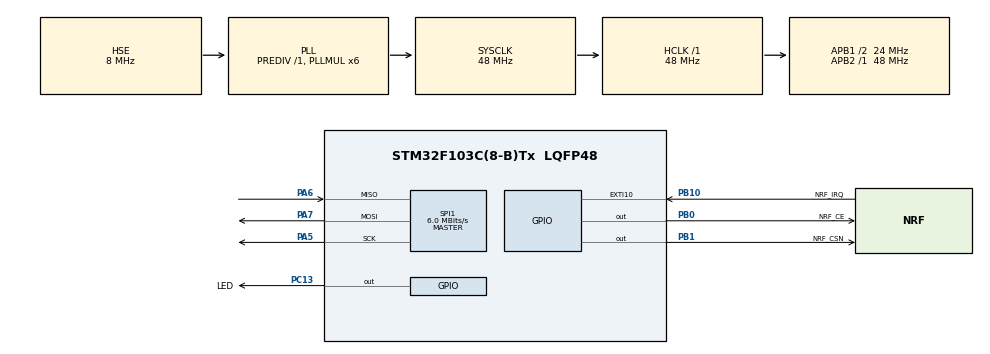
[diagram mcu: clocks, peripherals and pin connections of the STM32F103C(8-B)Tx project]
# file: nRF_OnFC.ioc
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Mcu.Family=STM32F1
Mcu.Name=STM32F103C(8-B)Tx
Mcu.Package=LQFP48
NVIC.EXTI15_10_IRQn=true\:0\:0\:false\:false\:true\:true\:true
NVIC.PriorityGroup=NVIC_PRIORITYGROUP_4
PA13.Mode=Serial_Wire
PA13.Signal=SYS_JTMS-SWDIO
PA14.Mode=Serial_Wire
PA14.Signal=SYS_JTCK-SWCLK
PA5.Mode=Full_Duplex_Master
PA5.Signal=SPI1_SCK
PA6.Mode=Full_Duplex_Master
PA6.Signal=SPI1_MISO
PA7.Mode=Full_Duplex_Master
PA7.Signal=SPI1_MOSI
PB0.GPIO_Label=NRF_CE
PB0.Signal=GPIO_Output
PB1.GPIO_Label=NRF_CSN
PB1.Signal=GPIO_Output
PB10.GPIO_Label=NRF_IRQ
PB10.GPIO_ModeDefaultEXTI=GPIO_MODE_IT_FALLING
PB10.GPIO_PuPd=GPIO_PULLUP
PB10.Signal=GPXTI10
PC13-TAMPER-RTC.GPIO_Label=LED
PC13-TAMPER-RTC.Signal=GPIO_Output
PD0-OSC_IN.Mode=HSE-External-Oscillator
PD0-OSC_IN.Signal=RCC_OSC_IN
PD1-OSC_OUT.Mode=HSE-External-Oscillator
PD1-OSC_OUT.Signal=RCC_OSC_OUT
ProjectManager.HeapSize=0x200
ProjectManager.StackSize=0x400
ProjectManager.TargetToolchain=STM32CubeIDE
RCC.AHBFreq_Value=48000000
RCC.APB1CLKDivider=RCC_HCLK_DIV2
RCC.APB1Freq_Value=24000000
RCC.APB1TimFreq_Value=48000000
RCC.APB2Freq_Value=48000000
RCC.APB2TimFreq_Value=48000000
RCC.HCLKFreq_Value=48000000
RCC.PLLMUL=RCC_PLL_MUL6
RCC.PLLSourceVirtual=RCC_PLLSOURCE_HSE
RCC.SYSCLKFreq_VALUE=48000000
RCC.SYSCLKSource=RCC_SYSCLKSOURCE_PLLCLK
RCC.USBFreq_Value=48000000
SPI1.BaudRatePrescaler=SPI_BAUDRATEPRESCALER_8
SPI1.CalculateBaudRate=6.0 MBits/s
SPI1.Direction=SPI_DIRECTION_2LINES
SPI1.Mode=SPI_MODE_MASTER
SPI1.VirtualType=VM_MASTER
board=custom

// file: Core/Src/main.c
/* USER CODE BEGIN Header */
/**
  ******************************************************************************
  * @file           : main.c
  * @brief          : Main program body
  ******************************************************************************
  * @attention
  *
  * <h2><center>&copy; Copyright (c) 2021 STMicroelectronics.
  * All rights reserved.</center></h2>
  *
  * This software component is licensed by ST under BSD 3-Clause license,
  * the "License"; You may not use this file except in compliance with the
  * License. You may obtain a copy of the License at:
  *                        opensource.org/licenses/BSD-3-Clause
  *
  ******************************************************************************
  */
/* USER CODE END Header */
#include "main.h"

/* USER CODE BEGIN Includes */
#include "string.h"
#include "AESK_NRF24.h"
#include "AESK_Data_Pack_lib.h"
#include "FlightDatas.h"
/* USER CODE END Includes */

/* USER CODE BEGIN PD */

  bool onReceiveFlag = true;

  float yaw;
  float roll;
  float pitch;
  float altitude;
  uint16_t motor1;
  uint16_t motor2;
  uint16_t motor3;
  uint16_t motor4;
  float yawError;
  float rollError;
  float pitchError;
  float altitudeError;
  float latitude_f32;
  float longtitude_f32;

  uint64_t thisNode = 0x11223344AA;
  uint64_t node = 0x11223344BB;

//  uint64_t thisNode = 0x11223344CC;
//  uint64_t node = 0x11223344AA;
//
//  uint16_t adc1;
//  uint16_t adc2;
//  uint16_t adc3;
//  uint16_t adc4;
//  uint16_t adc5;
//  uint16_t adc6;
//  uint16_t adc7;
//  uint16_t adc8;
//  uint16_t adc9;
//  uint16_t adc10;

  uint16_t indexTx;

  uint16_t counter = 0;

/* USER CODE END PD */

SPI_HandleTypeDef hspi1;

void SystemClock_Config(void);
static void MX_GPIO_Init(void);
static void MX_SPI1_Init(void);
/* USER CODE BEGIN PFP */
void onReceive(uint8_t * pack, uint16_t len);
void parseBuffer(uint8_t * buffer);
/* USER CODE END PFP */

int main(void)
{

  /* MCU Configuration--------------------------------------------------------*/

  /* Reset of all peripherals, Initializes the Flash interface and the Systick. */
  HAL_Init();

  /* Configure the system clock */
  SystemClock_Config();

  /* Initialize all configured peripherals */
  MX_GPIO_Init();
  MX_SPI1_Init();
  /* USER CODE BEGIN 2 */
  AESK_NRF24_DATA_Init(48, thisNode, &onReceive);
  AESK_NRF24_Init(&hspi1, NRF_CSN_GPIO_Port, NRF_CSN_Pin, NRF_CE_Pin);
  /* USER CODE END 2 */

  /* Infinite loop */
  while (1)
  {

    /* USER CODE BEGIN 3 */

	  if(tt.time_task_t.task_50_Hz == 1 && onReceiveFlag == 1)
	  {
		  counter += 1;
		  indexTx = 2;

//		  adc1 = counter*50/500;
//		  adc2 = counter*100/500;
//		  adc3 = counter*150/500;
//		  adc4 = counter*200/500;
//		  adc5 = counter*250/500;
//		  adc6 = counter*300/500;
//		  adc7 = counter*350/500;
//		  adc8 = counter*400/500;
//		  adc9 = counter*450/500;
//		  adc10 = counter*500/500;
//
//		  AESK_UINT16toUINT8_LE(&adc1, aesk_nrf24_data.TxBuffer,&indexTx);
//		  AESK_UINT16toUINT8_LE(&adc2, aesk_nrf24_data.TxBuffer,&indexTx);
//		  AESK_UINT16toUINT8_LE(&adc3, aesk_nrf24_data.TxBuffer,&indexTx);
//		  AESK_UINT16toUINT8_LE(&adc4, aesk_nrf24_data.TxBuffer,&indexTx);
//		  AESK_UINT16toUINT8_LE(&adc5, aesk_nrf24_data.TxBuffer,&indexTx);
//		  AESK_UINT16toUINT8_LE(&adc6, aesk_nrf24_data.TxBuffer,&indexTx);
//		  AESK_UINT16toUINT8_LE(&adc7, aesk_nrf24_data.TxBuffer,&indexTx);
//		  AESK_UINT16toUINT8_LE(&adc8, aesk_nrf24_data.TxBuffer,&indexTx);
//		  AESK_UINT16toUINT8_LE(&adc9, aesk_nrf24_data.TxBuffer,&indexTx);
//		  AESK_UINT16toUINT8_LE(&adc10, aesk_nrf24_data.TxBuffer,&indexTx);

		  yaw = counter*255/500;
		  roll = counter*180/500;
		  pitch = counter*180/500;
		  altitude = counter;
		  motor1 = 1000 + counter*700/500;
		  motor2 = 1000 + counter*700/500;
		  motor3 = 1000 + counter*700/500;
		  motor4 = 1000 + counter*700/500;
		  yawError = yaw - 55;
		  rollError = roll - 45;
		  pitchError = pitch - 45;
		  altitudeError = altitude - 3;
		  latitude_f32 = 41.02539 - counter*0.0001;
		  longtitude_f32 = 28.88818 - counter*0.0001;

		  AESK_FLOAT32toUINT8_LE(&yaw,aesk_nrf24_data.TxBuffer,&indexTx);
		  AESK_FLOAT32toUINT8_LE(&roll,aesk_nrf24_data.TxBuffer,&indexTx);
		  AESK_FLOAT32toUINT8_LE(&pitch,aesk_nrf24_data.TxBuffer,&indexTx);
		  AESK_FLOAT32toUINT8_LE(&altitude, aesk_nrf24_data.TxBuffer,&indexTx);

		  AESK_UINT16toUINT8_LE(&motor1,aesk_nrf24_data.TxBuffer ,&indexTx);
		  AESK_UINT16toUINT8_LE(&motor2,aesk_nrf24_data.TxBuffer ,&indexTx);
		  AESK_UINT16toUINT8_LE(&motor3,aesk_nrf24_data.TxBuffer ,&indexTx);
		  AESK_UINT16toUINT8_LE(&motor4,aesk_nrf24_data.TxBuffer ,&indexTx);

		  AESK_FLOAT32toUINT8_LE(&yawError,aesk_nrf24_data.TxBuffer ,&indexTx);
		  AESK_FLOAT32toUINT8_LE(&rollError,aesk_nrf24_data.TxBuffer ,&indexTx);
		  AESK_FLOAT32toUINT8_LE(&pitchError,aesk_nrf24_data.TxBuffer ,&indexTx);
		  AESK_FLOAT32toUINT8_LE(&altitudeError,aesk_nrf24_data.TxBuffer ,&indexTx);

		  AESK_FLOAT32toUINT8_LE(&latitude_f32,aesk_nrf24_data.TxBuffer ,&indexTx);
		  AESK_FLOAT32toUINT8_LE(&longtitude_f32,aesk_nrf24_data.TxBuffer ,&indexTx);

		  aesk_nrf24_data.TxBuffer[0] = 'A';
		  aesk_nrf24_data.TxBuffer[1] = indexTx;

		  AESK_NRF24_WritePack(aesk_nrf24_data.TxBuffer, indexTx, node);

		  if(counter == 500)
			  counter = 0;

		  tt.time_task_t.task_50_Hz = 0;
	  }
  }
  /* USER CODE END 3 */
}

void SystemClock_Config(void)
{
  RCC_OscInitTypeDef RCC_OscInitStruct = {0};
  RCC_ClkInitTypeDef RCC_ClkInitStruct = {0};

  /** Initializes the RCC Oscillators according to the specified parameters
  * in the RCC_OscInitTypeDef structure.
  */
  RCC_OscInitStruct.OscillatorType = RCC_OSCILLATORTYPE_HSE;
  RCC_OscInitStruct.HSEState = RCC_HSE_ON;
  RCC_OscInitStruct.HSEPredivValue = RCC_HSE_PREDIV_DIV1;
  RCC_OscInitStruct.HSIState = RCC_HSI_ON;
  RCC_OscInitStruct.PLL.PLLState = RCC_PLL_ON;
  RCC_OscInitStruct.PLL.PLLSource = RCC_PLLSOURCE_HSE;
  RCC_OscInitStruct.PLL.PLLMUL = RCC_PLL_MUL6;
  if (HAL_RCC_OscConfig(&RCC_OscInitStruct) != HAL_OK)
  {
    Error_Handler();
  }
  /** Initializes the CPU, AHB and APB buses clocks
  */
  RCC_ClkInitStruct.ClockType = RCC_CLOCKTYPE_HCLK|RCC_CLOCKTYPE_SYSCLK
                              |RCC_CLOCKTYPE_PCLK1|RCC_CLOCKTYPE_PCLK2;
  RCC_ClkInitStruct.SYSCLKSource = RCC_SYSCLKSOURCE_PLLCLK;
  RCC_ClkInitStruct.AHBCLKDivider = RCC_SYSCLK_DIV1;
  RCC_ClkInitStruct.APB1CLKDivider = RCC_HCLK_DIV2;
  RCC_ClkInitStruct.APB2CLKDivider = RCC_HCLK_DIV1;

  if (HAL_RCC_ClockConfig(&RCC_ClkInitStruct, FLASH_LATENCY_1) != HAL_OK)
  {
    Error_Handler();
  }
}

static void MX_SPI1_Init(void)
{

  /* SPI1 parameter configuration*/
  hspi1.Instance = SPI1;
  hspi1.Init.Mode = SPI_MODE_MASTER;
  hspi1.Init.Direction = SPI_DIRECTION_2LINES;
  hspi1.Init.DataSize = SPI_DATASIZE_8BIT;
  hspi1.Init.CLKPolarity = SPI_POLARITY_LOW;
  hspi1.Init.CLKPhase = SPI_PHASE_1EDGE;
  hspi1.Init.NSS = SPI_NSS_SOFT;
  hspi1.Init.BaudRatePrescaler = SPI_BAUDRATEPRESCALER_8;
  hspi1.Init.FirstBit = SPI_FIRSTBIT_MSB;
  hspi1.Init.TIMode = SPI_TIMODE_DISABLE;
  hspi1.Init.CRCCalculation = SPI_CRCCALCULATION_DISABLE;
  hspi1.Init.CRCPolynomial = 10;
  if (HAL_SPI_Init(&hspi1) != HAL_OK)
  {
    Error_Handler();
  }

}

static void MX_GPIO_Init(void)
{
  GPIO_InitTypeDef GPIO_InitStruct = {0};

  /* GPIO Ports Clock Enable */
  __HAL_RCC_GPIOC_CLK_ENABLE();
  __HAL_RCC_GPIOD_CLK_ENABLE();
  __HAL_RCC_GPIOA_CLK_ENABLE();
  __HAL_RCC_GPIOB_CLK_ENABLE();

  /*Configure GPIO pin Output Level */
  HAL_GPIO_WritePin(LED_GPIO_Port, LED_Pin, GPIO_PIN_RESET);

  /*Configure GPIO pin Output Level */
  HAL_GPIO_WritePin(GPIOB, NRF_CE_Pin|NRF_CSN_Pin, GPIO_PIN_RESET);

  /*Configure GPIO pin : LED_Pin */
  GPIO_InitStruct.Pin = LED_Pin;
  GPIO_InitStruct.Mode = GPIO_MODE_OUTPUT_PP;
  GPIO_InitStruct.Pull = GPIO_NOPULL;
  GPIO_InitStruct.Speed = GPIO_SPEED_FREQ_LOW;
  HAL_GPIO_Init(LED_GPIO_Port, &GPIO_InitStruct);

  /*Configure GPIO pins : NRF_CE_Pin NRF_CSN_Pin */
  GPIO_InitStruct.Pin = NRF_CE_Pin|NRF_CSN_Pin;
  GPIO_InitStruct.Mode = GPIO_MODE_OUTPUT_PP;
  GPIO_InitStruct.Pull = GPIO_NOPULL;
  GPIO_InitStruct.Speed = GPIO_SPEED_FREQ_LOW;
  HAL_GPIO_Init(GPIOB, &GPIO_InitStruct);

  /*Configure GPIO pin : NRF_IRQ_Pin */
  GPIO_InitStruct.Pin = NRF_IRQ_Pin;
  GPIO_InitStruct.Mode = GPIO_MODE_IT_FALLING;
  GPIO_InitStruct.Pull = GPIO_PULLUP;
  HAL_GPIO_Init(NRF_IRQ_GPIO_Port, &GPIO_InitStruct);

  /* EXTI interrupt init*/
  HAL_NVIC_SetPriority(EXTI15_10_IRQn, 0, 0);
  HAL_NVIC_EnableIRQ(EXTI15_10_IRQn);

}

/* USER CODE BEGIN 4 */
void HAL_GPIO_EXTI_Callback(uint16_t GPIO_Pin)
{
	onReceiveFlag = 0;

	AESK_NRF24_ReadPack();

	onReceiveFlag = 1;
}
void onReceive(uint8_t * pack, uint16_t len)
{
	if(*pack == 'P' || *pack == 'G')
		AESK_NRF24_WritePack(pack, len, node);

	parseBuffer(pack);

	onReceiveFlag = 1;
}

void parseBuffer(uint8_t * buffer)
{
	uint16_t index = 2;

	if(aesk_nrf24_data.RxBuffer[0] == 'P')
	{
		AESK_UINT8toUINT24_LE(&aesk_Rx_Datas_Int.RollPitchKp,buffer,&index);
		AESK_UINT8toUINT24_LE(&aesk_Rx_Datas_Int.RollPitchKi,buffer,&index);
		AESK_UINT8toUINT24_LE(&aesk_Rx_Datas_Int.RollPitchKd,buffer,&index);

		AESK_UINT8toUINT24_LE(&aesk_Rx_Datas_Int.YawKp,buffer,&index);
		AESK_UINT8toUINT24_LE(&aesk_Rx_Datas_Int.YawKi,buffer,&index);
		AESK_UINT8toUINT24_LE(&aesk_Rx_Datas_Int.YawKd,buffer,&index);

		AESK_UINT8toUINT24_LE(&aesk_Rx_Datas_Int.AltitudeKp,buffer,&index);
		AESK_UINT8toUINT24_LE(&aesk_Rx_Datas_Int.AltitudeKi,buffer,&index);
		AESK_UINT8toUINT24_LE(&aesk_Rx_Datas_Int.AltitudeKd,buffer,&index);

		AESK_UINT8toUINT24_LE(&aesk_Rx_Datas_Int.GpsKp,buffer,&index);
		AESK_UINT8toUINT24_LE(&aesk_Rx_Datas_Int.GpsKi,buffer,&index);
		AESK_UINT8toUINT24_LE(&aesk_Rx_Datas_Int.GpsKd,buffer,&index);

		AESK_UINT8toUINT24_LE(&aesk_Rx_Datas_Int.Ext1Kp,buffer,&index);
		AESK_UINT8toUINT24_LE(&aesk_Rx_Datas_Int.Ext1Ki,buffer,&index);
		AESK_UINT8toUINT24_LE(&aesk_Rx_Datas_Int.Ext1Kd,buffer,&index);

		AESK_UINT8toUINT24_LE(&aesk_Rx_Datas_Int.Ext2Kp,buffer,&index);
		AESK_UINT8toUINT24_LE(&aesk_Rx_Datas_Int.Ext2Ki,buffer,&index);
		AESK_UINT8toUINT24_LE(&aesk_Rx_Datas_Int.Ext2Kd,buffer,&index);

		aesk_Rx_Datas_Float.floatRollPitchKp = (float)aesk_Rx_Datas_Int.RollPitchKp/100000;
		aesk_Rx_Datas_Float.floatRollPitchKi = (float)aesk_Rx_Datas_Int.RollPitchKi/100000;
		aesk_Rx_Datas_Float.floatRollPitchKd = (float)aesk_Rx_Datas_Int.RollPitchKd/100000;

		aesk_Rx_Datas_Float.floatYawKp = (float)aesk_Rx_Datas_Int.YawKp/100000;
		aesk_Rx_Datas_Float.floatYawKi = (float)aesk_Rx_Datas_Int.YawKi/100000;
		aesk_Rx_Datas_Float.floatYawKd = (float)aesk_Rx_Datas_Int.YawKd/100000;

		aesk_Rx_Datas_Float.floatAltitudeKp = (float)aesk_Rx_Datas_Int.AltitudeKp/100000;
		aesk_Rx_Datas_Float.floatAltitudeKi = (float)aesk_Rx_Datas_Int.AltitudeKi/100000;
		aesk_Rx_Datas_Float.floatAltitudeKd = (float)aesk_Rx_Datas_Int.AltitudeKd/100000;

		aesk_Rx_Datas_Float.floatGpsKp = (float)aesk_Rx_Datas_Int.GpsKp/100000;
		aesk_Rx_Datas_Float.floatGpsKi = (float)aesk_Rx_Datas_Int.GpsKi/100000;
		aesk_Rx_Datas_Float.floatGpsKd = (float)aesk_Rx_Datas_Int.GpsKd/100000;

		aesk_Rx_Datas_Float.floatExt1Kp = (float)aesk_Rx_Datas_Int.Ext1Kp/100000;
		aesk_Rx_Datas_Float.floatExt1Ki = (float)aesk_Rx_Datas_Int.Ext1Ki/100000;
		aesk_Rx_Datas_Float.floatExt1Kd = (float)aesk_Rx_Datas_Int.Ext1Kd/100000;

		aesk_Rx_Datas_Float.floatExt2Kp = (float)aesk_Rx_Datas_Int.Ext2Kp/100000;
		aesk_Rx_Datas_Float.floatExt2Ki = (float)aesk_Rx_Datas_Int.Ext2Ki/100000;
		aesk_Rx_Datas_Float.floatExt2Kd = (float)aesk_Rx_Datas_Int.Ext2Kd/100000;
	}

}
/* USER CODE END 4 */

void Error_Handler(void)
{
  __disable_irq();
  while (1)
  {
  }
}
